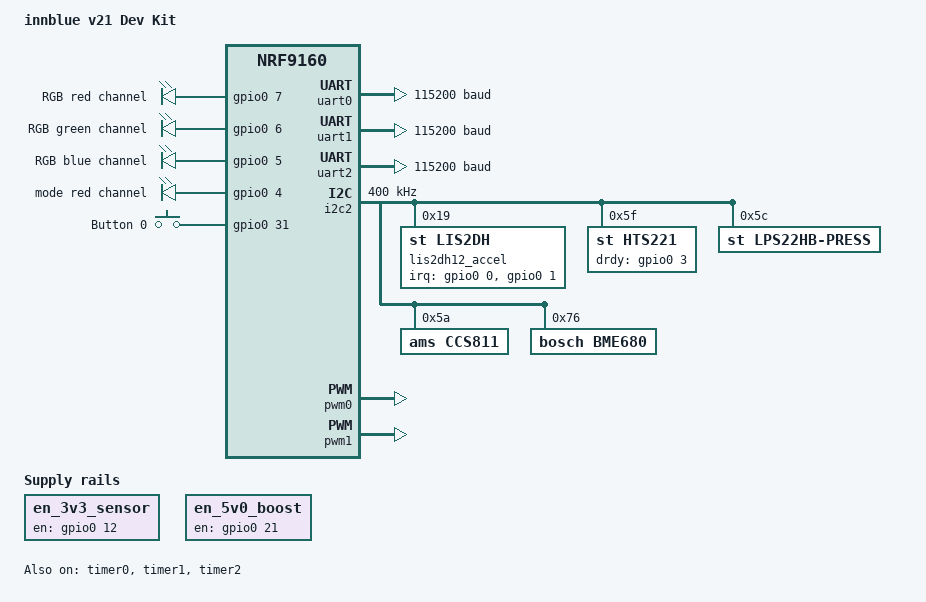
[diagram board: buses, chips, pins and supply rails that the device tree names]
/*
 * Copyright (c) 2020 InnBlue
 *
 * SPDX-License-Identifier: Apache-2.0
 */
#include "nrf9160_innblue21_common-pinctrl.dtsi"

/ {
	model = "innblue v21 Dev Kit";
	compatible = "innblue,innblue21";

	chosen {
		zephyr,console = &uart0;
		zephyr,shell-uart = &uart0;
		zephyr,uart-mcumgr = &uart0;
	};

	leds {
		compatible = "gpio-leds";
		red_led: led_1 {
			gpios = <&gpio0 7 0>;
			label = "RGB red channel";
		};
		green_led: led_2 {
			gpios = <&gpio0 6 0>;
			label = "RGB green channel";
		};
		blue_led: led_3 {
			gpios = <&gpio0 5 0>;
			label = "RGB blue channel";
		};

		mode_led: led_4 {
			gpios = <&gpio0 4 0>;
			label = "mode red channel";
		};
	};

	buttons {
		compatible = "gpio-keys";

		button0: button_0 {
			gpios = <&gpio0 31 GPIO_PULL_UP>;
			label = "Button 0";
		};
	};

	en_3v3_sensor: enable-3v3-sensor {
		compatible = "regulator-fixed";
		regulator-name = "en_3v3_sensor";
		enable-gpios = <&gpio0 12 GPIO_ACTIVE_HIGH>;
		startup-delay-us = <10000>;
		regulator-boot-on;
	};

	en_5v0_boost: enable-5v0-boost {
		compatible = "regulator-fixed";
		regulator-name = "en_5v0_boost";
		enable-gpios = <&gpio0 21 GPIO_ACTIVE_HIGH>;
		startup-delay-us = <10000>;
		regulator-boot-on;
	};

	/* These aliases are provided for compatibility with samples */
	aliases {
		led0 = &red_led;
		led1 = &green_led;
		led2 = &blue_led;
		led3 = &mode_led;
		sw0  = &button0;
		rgb-pwm  = &pwm0;
		mode-pwm = &pwm1;
		watchdog0 = &wdt0;
		accel0 = &lis2dh12_accel;
	};
};

&gpiote {
	status = "okay";
};

&gpio0 {
	status = "okay";
};

&uart0 {
	status = "okay";
	current-speed = <115200>;
	pinctrl-0 = <&uart0_default>;
	pinctrl-1 = <&uart0_sleep>;
	pinctrl-names = "default", "sleep";
};

&uart1 {
	status = "okay";
	current-speed = <115200>;
	pinctrl-0 = <&uart1_default>;
	pinctrl-1 = <&uart1_sleep>;
	pinctrl-names = "default", "sleep";
};

&uart2 {
	current-speed = <115200>;
	pinctrl-0 = <&uart2_default>;
	pinctrl-1 = <&uart2_sleep>;
	pinctrl-names = "default", "sleep";
};

&i2c2 {
	compatible = "nordic,nrf-twim";
	status = "okay";

	clock-frequency = <I2C_BITRATE_FAST>;

	pinctrl-0 = <&i2c2_default>;
	pinctrl-1 = <&i2c2_sleep>;
	pinctrl-names = "default", "sleep";
	lis2dh12_accel: lis2dh12-accel@19 {
		compatible = "st,lis2dh";
		reg = <0x19>;
		irq-gpios = <&gpio0 0 0>, <&gpio0 1 0>;
	};

	hts221@5f {
		compatible = "st,hts221";
		reg = <0x5f>;
		drdy-gpios = <&gpio0 3 GPIO_ACTIVE_HIGH>;
	};

	lps22hb-press@5c {
		compatible = "st,lps22hb-press";
		reg = <0x5c>;
	};

	ccs811: ccs811@5a {
		compatible = "ams,ccs811";
		reg = <0x5a>;
	};

	bme680@76 {
		compatible = "bosch,bme680";
		reg = <0x76>;
	};
};

&pwm0 {
	status = "okay";
	pinctrl-0 = <&pwm0_default>;
	pinctrl-1 = <&pwm0_sleep>;
	pinctrl-names = "default", "sleep";
};

&pwm1 {
	status = "okay";
	pinctrl-0 = <&pwm1_default>;
	pinctrl-1 = <&pwm1_sleep>;
	pinctrl-names = "default", "sleep";
};

&timer0 {
	status = "okay";
};

&timer1 {
	status = "okay";
};

&timer2 {
	status = "okay";
};

&flash0 {

	partitions {
		compatible = "fixed-partitions";
		#address-cells = <1>;
		#size-cells = <1>;

		boot_partition: partition@0 {
			label = "mcuboot";
			reg = <0x00000000 0xc000>;
		};
		slot0_partition: partition@c000 {
			label = "image-0";
		};
		slot0_ns_partition: partition@3e000 {
			label = "image-0-nonsecure";
		};
		slot1_partition: partition@7e000 {
			label = "image-1";
		};
		slot1_ns_partition: partition@b0000 {
			label = "image-1-nonsecure";
		};
		scratch_partition: partition@f0000 {
			label = "image-scratch";
			reg = <0x000f0000 0xa000>;
		};
		storage_partition: partition@fa000 {
			label = "storage";
			reg = <0x000fa000 0x00006000>;
		};
	};
};

/ {
	/* SRAM allocated and used by the BSD library */
	sram0_bsd: memory@20010000 {
		compatible = "mmio-sram";
	};

	/* SRAM allocated to the Non-Secure image */
	sram0_ns: memory@20020000 {
		compatible = "mmio-sram";
	};
};

/* Include partition configuration file */
#include "nrf9160_innblue21_partition_conf.dts"
